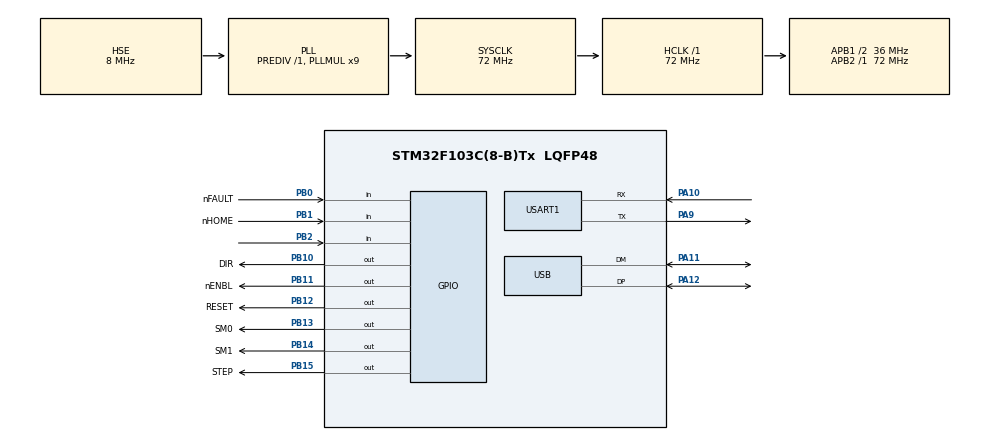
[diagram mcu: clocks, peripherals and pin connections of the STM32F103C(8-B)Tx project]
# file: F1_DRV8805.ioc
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Dma.Request0=USART1_RX
Dma.Request1=USART1_TX
Dma.USART1_RX.0.Direction=DMA_PERIPH_TO_MEMORY
Dma.USART1_RX.0.Instance=DMA1_Channel5
Dma.USART1_RX.0.MemDataAlignment=DMA_MDATAALIGN_BYTE
Dma.USART1_RX.0.MemInc=DMA_MINC_ENABLE
Dma.USART1_RX.0.Mode=DMA_NORMAL
Dma.USART1_RX.0.PeriphDataAlignment=DMA_PDATAALIGN_BYTE
Dma.USART1_RX.0.PeriphInc=DMA_PINC_DISABLE
Dma.USART1_RX.0.Priority=DMA_PRIORITY_LOW
Dma.USART1_TX.1.Direction=DMA_MEMORY_TO_PERIPH
Dma.USART1_TX.1.Instance=DMA1_Channel4
Dma.USART1_TX.1.MemDataAlignment=DMA_MDATAALIGN_BYTE
Dma.USART1_TX.1.MemInc=DMA_MINC_ENABLE
Dma.USART1_TX.1.Mode=DMA_NORMAL
Dma.USART1_TX.1.PeriphDataAlignment=DMA_PDATAALIGN_BYTE
Dma.USART1_TX.1.PeriphInc=DMA_PINC_DISABLE
Dma.USART1_TX.1.Priority=DMA_PRIORITY_LOW
Mcu.Family=STM32F1
Mcu.Name=STM32F103C(8-B)Tx
Mcu.Package=LQFP48
NVIC.DMA1_Channel4_IRQn=true\:0\:0\:false\:false\:true
NVIC.DMA1_Channel5_IRQn=true\:0\:0\:false\:false\:true
NVIC.PriorityGroup=NVIC_PRIORITYGROUP_4
NVIC.USART1_IRQn=true\:0\:0\:false\:false\:true
NVIC.USB_HP_CAN1_TX_IRQn=true\:0\:0\:false\:false\:true
NVIC.USB_LP_CAN1_RX0_IRQn=true\:0\:0\:false\:false\:true
PA10.Mode=Asynchronous
PA10.Signal=USART1_RX
PA11.Mode=Device
PA11.Signal=USB_DM
PA12.Mode=Device
PA12.Signal=USB_DP
PA13.Mode=Trace_Asynchronous_SW
PA13.Signal=SYS_JTMS-SWDIO
PA14.Mode=Trace_Asynchronous_SW
PA14.Signal=SYS_JTCK-SWCLK
PA9.Mode=Asynchronous
PA9.Signal=USART1_TX
PB0.GPIO_Label=nFAULT
PB0.GPIO_PuPd=GPIO_PULLUP
PB0.Signal=GPIO_Input
PB1.GPIO_Label=nHOME
PB1.GPIO_PuPd=GPIO_PULLUP
PB1.Signal=GPIO_Input
PB10.GPIO_Label=DIR
PB10.Signal=GPIO_Output
PB11.GPIO_Label=nENBL
PB11.Signal=GPIO_Output
PB12.GPIO_Label=RESET
PB12.Signal=GPIO_Output
PB13.GPIO_Label=SM0
PB13.Signal=GPIO_Output
PB14.GPIO_Label=SM1
PB14.Signal=GPIO_Output
PB15.GPIO_Label=STEP
PB15.Signal=GPIO_Output
PB2.GPIO_PuPd=GPIO_PULLUP
PB2.Signal=GPIO_Input
PB3.Mode=Trace_Asynchronous_SW
PB3.Signal=SYS_JTDO-TRACESWO
PD0-OSC_IN.Mode=HSE-External-Oscillator
PD0-OSC_IN.Signal=RCC_OSC_IN
PD1-OSC_OUT.Mode=HSE-External-Oscillator
PD1-OSC_OUT.Signal=RCC_OSC_OUT
ProjectManager.HeapSize=0x200
ProjectManager.StackSize=0x400
ProjectManager.TargetToolchain=MDK-ARM V5
RCC.AHBFreq_Value=72000000
RCC.APB1CLKDivider=RCC_HCLK_DIV2
RCC.APB1Freq_Value=36000000
RCC.APB1TimFreq_Value=72000000
RCC.APB2Freq_Value=72000000
RCC.APB2TimFreq_Value=72000000
RCC.EnbaleCSS=true
RCC.HCLKFreq_Value=72000000
RCC.HSIState=RCC_HSI_ON
RCC.PLLMUL=RCC_PLL_MUL9
RCC.SYSCLKFreq_VALUE=72000000
RCC.SYSCLKSource=RCC_SYSCLKSOURCE_PLLCLK
RCC.USBFreq_Value=48000000
RCC.USBPrescaler=RCC_USBCLKSOURCE_PLL_DIV1_5
USB_DEVICE.CLASS_NAME_FS=CDC
USB_DEVICE.PID_CDC_FS=0x5740
USB_DEVICE.USBD_HandleTypeDef=hUsbDeviceFS
USB_DEVICE.VID=0x483
USB_DEVICE.VirtualMode=Cdc
USB_DEVICE.VirtualModeFS=Cdc_FS
VP_USB_DEVICE_VS_USB_DEVICE_CDC_FS.Mode=CDC_FS
board=F1_DRV8805

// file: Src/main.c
/**
  ******************************************************************************
  * File Name          : main.c
  * Description        : Main program body
  ******************************************************************************
  *
  * COPYRIGHT(c) 2016 STMicroelectronics
  *
  * Redistribution and use in source and binary forms, with or without modification,
  * are permitted provided that the following conditions are met:
  *   1. Redistributions of source code must retain the above copyright notice,
  *      this list of conditions and the following disclaimer.
  *   2. Redistributions in binary form must reproduce the above copyright notice,
  *      this list of conditions and the following disclaimer in the documentation
  *      and/or other materials provided with the distribution.
  *   3. Neither the name of STMicroelectronics nor the names of its contributors
  *      may be used to endorse or promote products derived from this software
  *      without specific prior written permission.
  *
  * THIS SOFTWARE IS PROVIDED BY THE COPYRIGHT HOLDERS AND CONTRIBUTORS "AS IS"
  * AND ANY EXPRESS OR IMPLIED WARRANTIES, INCLUDING, BUT NOT LIMITED TO, THE
  * IMPLIED WARRANTIES OF MERCHANTABILITY AND FITNESS FOR A PARTICULAR PURPOSE ARE
  * DISCLAIMED. IN NO EVENT SHALL THE COPYRIGHT HOLDER OR CONTRIBUTORS BE LIABLE
  * FOR ANY DIRECT, INDIRECT, INCIDENTAL, SPECIAL, EXEMPLARY, OR CONSEQUENTIAL
  * DAMAGES (INCLUDING, BUT NOT LIMITED TO, PROCUREMENT OF SUBSTITUTE GOODS OR
  * SERVICES; LOSS OF USE, DATA, OR PROFITS; OR BUSINESS INTERRUPTION) HOWEVER
  * CAUSED AND ON ANY THEORY OF LIABILITY, WHETHER IN CONTRACT, STRICT LIABILITY,
  * OR TORT (INCLUDING NEGLIGENCE OR OTHERWISE) ARISING IN ANY WAY OUT OF THE USE
  * OF THIS SOFTWARE, EVEN IF ADVISED OF THE POSSIBILITY OF SUCH DAMAGE.
  *
  ******************************************************************************
  */
#include "stm32f1xx_hal.h"
#include "usb_device.h"

UART_HandleTypeDef huart1;
DMA_HandleTypeDef hdma_usart1_rx;
DMA_HandleTypeDef hdma_usart1_tx;

/* USER CODE BEGIN PV */
/* Private variables ---------------------------------------------------------*/
uint8_t	time_of_step=20;
uint32_t	clk__sys,step_pause=50000,number_of_step=100;
uint8_t	TxData[8]={0};
uint8_t	RxData[8]={0};
uint32_t	i=0;

/* USER CODE END PV */

void SystemClock_Config(void);
static void MX_GPIO_Init(void);
static void MX_DMA_Init(void);
static void MX_USART1_UART_Init(void);

/* USER CODE BEGIN PFP */
/* Private function prototypes -----------------------------------------------*/
void	nFAULT(void)
{
	while(HAL_GPIO_ReadPin(GPIOB, nFAULT_Pin) == 0)
	{
	}
}
/* USER CODE END PFP */

int main(void)
{

  /* MCU Configuration----------------------------------------------------------*/

  /* Reset of all peripherals, Initializes the Flash interface and the Systick. */
  HAL_Init();

  /* Configure the system clock */
  SystemClock_Config();

  /* Initialize all configured peripherals */
  MX_GPIO_Init();
  MX_DMA_Init();
  MX_USART1_UART_Init();
  MX_USB_DEVICE_Init();

  /* USER CODE BEGIN 2 */
HAL_GPIO_WritePin(GPIOB, RESET_Pin, GPIO_PIN_SET);
HAL_GPIO_WritePin(GPIOB, SM0_Pin, GPIO_PIN_RESET);
HAL_GPIO_WritePin(GPIOB, SM1_Pin, GPIO_PIN_RESET);
HAL_GPIO_WritePin(GPIOB, nENBL_Pin, GPIO_PIN_SET);
HAL_GPIO_WritePin(GPIOB, RESET_Pin, GPIO_PIN_RESET);
HAL_Delay(500);
clk__sys=HAL_RCC_GetSysClockFreq();

SysTick_Config(7200);

  /* USER CODE END 2 */

  /* Infinite loop */
  while (1)
  {

  /* USER CODE BEGIN 3 */
//HAL_GPIO_WritePin(GPIOB, DIR_Pin, GPIO_PIN_SET);

//HAL_GPIO_WritePin(GPIOB, DIR_Pin, GPIO_PIN_RESET);

for(i=0;i < number_of_step;i++)
{
HAL_GPIO_WritePin(GPIOB, nENBL_Pin, GPIO_PIN_RESET);
HAL_GPIO_WritePin(GPIOB, STEP_Pin, GPIO_PIN_SET);
HAL_Delay(time_of_step);
HAL_GPIO_WritePin(GPIOB, STEP_Pin, GPIO_PIN_RESET);
	nFAULT();
}
HAL_GPIO_WritePin(GPIOB, nENBL_Pin, GPIO_PIN_SET);

HAL_UART_Transmit_DMA(&huart1,TxData, 8);
//HAL_UART_Transmit(&huart1,TxData,8,100);
HAL_UART_Receive_DMA(&huart1, RxData, 8);
//HAL_UART_Receive(&huart1,RxData,8, 100);
HAL_Delay(step_pause);
if(HAL_GPIO_ReadPin(GPIOB, GPIO_PIN_2) == 1)
{
	HAL_GPIO_WritePin(GPIOB, DIR_Pin, GPIO_PIN_SET);
}
else
{
	HAL_GPIO_WritePin(GPIOB, DIR_Pin, GPIO_PIN_RESET);
}
if(RxData[0] != 0)
{
number_of_step = 0x100*(RxData[1])+RxData[2];
time_of_step = RxData[3];
step_pause = 10000*RxData[4];
RxData[0]=0;
}
  }
  /* USER CODE END 3 */

}

/** System Clock Configuration
*/
void SystemClock_Config(void)
{

  RCC_OscInitTypeDef RCC_OscInitStruct;
  RCC_ClkInitTypeDef RCC_ClkInitStruct;
  RCC_PeriphCLKInitTypeDef PeriphClkInit;

  RCC_OscInitStruct.OscillatorType = RCC_OSCILLATORTYPE_HSE;
  RCC_OscInitStruct.HSEState = RCC_HSE_ON;
  RCC_OscInitStruct.HSEPredivValue = RCC_HSE_PREDIV_DIV1;
  RCC_OscInitStruct.PLL.PLLState = RCC_PLL_ON;
  RCC_OscInitStruct.PLL.PLLSource = RCC_PLLSOURCE_HSE;
  RCC_OscInitStruct.PLL.PLLMUL = RCC_PLL_MUL9;
  HAL_RCC_OscConfig(&RCC_OscInitStruct);

  RCC_ClkInitStruct.ClockType = RCC_CLOCKTYPE_HCLK|RCC_CLOCKTYPE_SYSCLK
                              |RCC_CLOCKTYPE_PCLK1|RCC_CLOCKTYPE_PCLK2;
  RCC_ClkInitStruct.SYSCLKSource = RCC_SYSCLKSOURCE_PLLCLK;
  RCC_ClkInitStruct.AHBCLKDivider = RCC_SYSCLK_DIV1;
  RCC_ClkInitStruct.APB1CLKDivider = RCC_HCLK_DIV2;
  RCC_ClkInitStruct.APB2CLKDivider = RCC_HCLK_DIV1;
  HAL_RCC_ClockConfig(&RCC_ClkInitStruct, FLASH_LATENCY_2);

  PeriphClkInit.PeriphClockSelection = RCC_PERIPHCLK_USB;
  PeriphClkInit.UsbClockSelection = RCC_USBCLKSOURCE_PLL_DIV1_5;
  HAL_RCCEx_PeriphCLKConfig(&PeriphClkInit);

  HAL_RCC_EnableCSS();

  HAL_SYSTICK_Config(HAL_RCC_GetHCLKFreq()/1000);

  HAL_SYSTICK_CLKSourceConfig(SYSTICK_CLKSOURCE_HCLK);

  /* SysTick_IRQn interrupt configuration */
  HAL_NVIC_SetPriority(SysTick_IRQn, 0, 0);
}

/* USART1 init function */
void MX_USART1_UART_Init(void)
{

  huart1.Instance = USART1;
  huart1.Init.BaudRate = 115200;
  huart1.Init.WordLength = UART_WORDLENGTH_8B;
  huart1.Init.StopBits = UART_STOPBITS_1;
  huart1.Init.Parity = UART_PARITY_NONE;
  huart1.Init.Mode = UART_MODE_TX_RX;
  huart1.Init.HwFlowCtl = UART_HWCONTROL_NONE;
  huart1.Init.OverSampling = UART_OVERSAMPLING_16;
  HAL_UART_Init(&huart1);

}

void MX_DMA_Init(void)
{
  /* DMA controller clock enable */
  __HAL_RCC_DMA1_CLK_ENABLE();

  /* DMA interrupt init */
  /* DMA1_Channel4_IRQn interrupt configuration */
  HAL_NVIC_SetPriority(DMA1_Channel4_IRQn, 0, 0);
  HAL_NVIC_EnableIRQ(DMA1_Channel4_IRQn);
  /* DMA1_Channel5_IRQn interrupt configuration */
  HAL_NVIC_SetPriority(DMA1_Channel5_IRQn, 0, 0);
  HAL_NVIC_EnableIRQ(DMA1_Channel5_IRQn);

}

/** Configure pins as
        * Analog
        * Input
        * Output
        * EVENT_OUT
        * EXTI
*/
void MX_GPIO_Init(void)
{

  GPIO_InitTypeDef GPIO_InitStruct;

  /* GPIO Ports Clock Enable */
  __HAL_RCC_GPIOD_CLK_ENABLE();
  __HAL_RCC_GPIOB_CLK_ENABLE();
  __HAL_RCC_GPIOA_CLK_ENABLE();

  /*Configure GPIO pins : nFAULT_Pin nHOME_Pin PB2 */
  GPIO_InitStruct.Pin = nFAULT_Pin|nHOME_Pin|GPIO_PIN_2;
  GPIO_InitStruct.Mode = GPIO_MODE_INPUT;
  GPIO_InitStruct.Pull = GPIO_PULLUP;
  HAL_GPIO_Init(GPIOB, &GPIO_InitStruct);

  /*Configure GPIO pins : DIR_Pin nENBL_Pin RESET_Pin SM0_Pin
                           SM1_Pin STEP_Pin */
  GPIO_InitStruct.Pin = DIR_Pin|nENBL_Pin|RESET_Pin|SM0_Pin
                          |SM1_Pin|STEP_Pin;
  GPIO_InitStruct.Mode = GPIO_MODE_OUTPUT_PP;
  GPIO_InitStruct.Speed = GPIO_SPEED_FREQ_LOW;
  HAL_GPIO_Init(GPIOB, &GPIO_InitStruct);

  /*Configure GPIO pin Output Level */
  HAL_GPIO_WritePin(GPIOB, DIR_Pin|nENBL_Pin|RESET_Pin|SM0_Pin
                          |SM1_Pin|STEP_Pin, GPIO_PIN_RESET);

}

/************************ (C) COPYRIGHT STMicroelectronics *****END OF FILE****/
